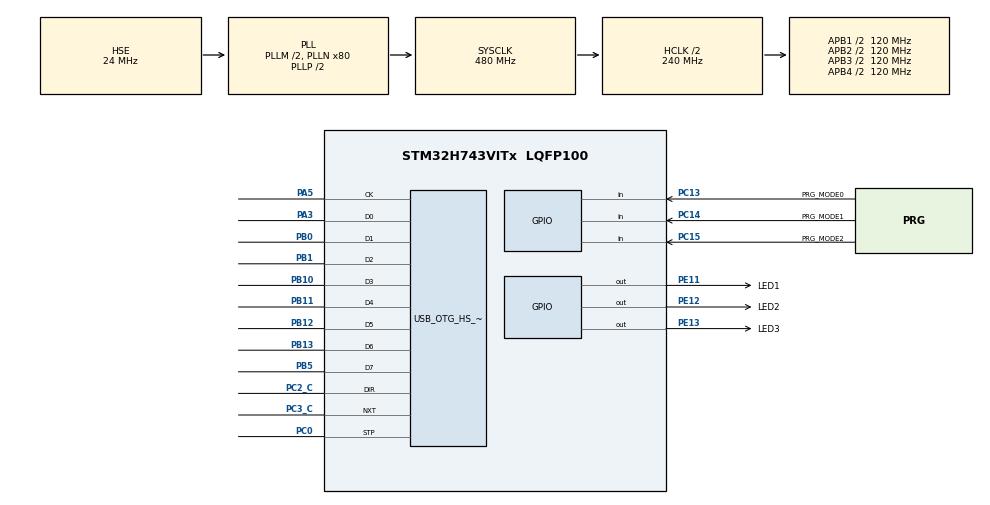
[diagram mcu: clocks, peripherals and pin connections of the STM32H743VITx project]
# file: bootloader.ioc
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CORTEX_M7.default_mode_Activation=1
Mcu.Family=STM32H7
Mcu.Name=STM32H743VITx
Mcu.Package=LQFP100
NVIC.OTG_HS_IRQn=true\:0\:0\:false\:false\:true\:false\:true\:true
NVIC.PriorityGroup=NVIC_PRIORITYGROUP_4
PA3.Mode=Device_HS
PA3.Signal=USB_OTG_HS_ULPI_D0
PA5.Mode=Device_HS
PA5.Signal=USB_OTG_HS_ULPI_CK
PB0.Mode=Device_HS
PB0.Signal=USB_OTG_HS_ULPI_D1
PB1.Mode=Device_HS
PB1.Signal=USB_OTG_HS_ULPI_D2
PB10.Mode=Device_HS
PB10.Signal=USB_OTG_HS_ULPI_D3
PB11.Mode=Device_HS
PB11.Signal=USB_OTG_HS_ULPI_D4
PB12.Mode=Device_HS
PB12.Signal=USB_OTG_HS_ULPI_D5
PB13.Mode=Device_HS
PB13.Signal=USB_OTG_HS_ULPI_D6
PB5.Mode=Device_HS
PB5.Signal=USB_OTG_HS_ULPI_D7
PC0.Mode=Device_HS
PC0.Signal=USB_OTG_HS_ULPI_STP
PC13.GPIO_Label=PRG_MODE0
PC13.Signal=GPIO_Input
PC14-OSC32_IN\ (OSC32_IN).GPIO_Label=PRG_MODE1
PC14-OSC32_IN\ (OSC32_IN).Signal=GPIO_Input
PC15-OSC32_OUT\ (OSC32_OUT).GPIO_Label=PRG_MODE2
PC15-OSC32_OUT\ (OSC32_OUT).Signal=GPIO_Input
PC2_C.Mode=Device_HS
PC2_C.Signal=USB_OTG_HS_ULPI_DIR
PC3_C.Mode=Device_HS
PC3_C.Signal=USB_OTG_HS_ULPI_NXT
PE11.GPIO_Label=LED1
PE11.Signal=GPIO_Output
PE12.GPIO_Label=LED2
PE12.Signal=GPIO_Output
PE13.GPIO_Label=LED3
PE13.Signal=GPIO_Output
PH0-OSC_IN\ (PH0).Mode=HSE-External-Oscillator
PH0-OSC_IN\ (PH0).Signal=RCC_OSC_IN
PH1-OSC_OUT\ (PH1).Mode=HSE-External-Oscillator
PH1-OSC_OUT\ (PH1).Signal=RCC_OSC_OUT
ProjectManager.HeapSize=0x200
ProjectManager.StackSize=0x400
ProjectManager.TargetToolchain=CMake
RCC.ADCFreq_Value=48375000
RCC.APB1Freq_Value=120000000
RCC.APB2Freq_Value=120000000
RCC.APB3Freq_Value=120000000
RCC.APB4Freq_Value=120000000
RCC.CortexFreq_Value=480000000
RCC.D1PPRE=RCC_APB3_DIV2
RCC.D2PPRE1=RCC_APB1_DIV2
RCC.D2PPRE2=RCC_APB2_DIV2
RCC.D3PPRE=RCC_APB4_DIV2
RCC.DIVM1=2
RCC.DIVN1=80
RCC.DIVQ1=15
RCC.HCLKFreq_Value=240000000
RCC.HPRE=RCC_HCLK_DIV2
RCC.HSE_VALUE=24000000
RCC.PLL2FRACN=0
RCC.PLL3FRACN=0
RCC.PLLFRACN=0
RCC.SYSCLKFreq_VALUE=480000000
RCC.SYSCLKSource=RCC_SYSCLKSOURCE_PLLCLK
RCC.USBFreq_Value=64000000
USB_DEVICE.CLASS_NAME_HS=DFU
USB_DEVICE.USBD_DFU_APP_DEFAULT_ADD-DFU_HS=0x08020000
USB_DEVICE.USBD_DFU_MEDIA-DFU_HS=@DFU STM32/0x08020000/07*128Kg,08*128Kg
USB_DEVICE.VirtualMode-DFU_HS=Dfu
USB_DEVICE.VirtualModeHS=Dfu_HS
USB_OTG_HS.VirtualMode-Device_HS=Device_HS
USB_OTG_HS.dma_enable-Device_HS=DISABLE
VP_MEMORYMAP_VS_MEMORYMAP.Mode=CurAppReg
VP_USB_DEVICE_VS_USB_DEVICE_DFU_HS.Mode=DFU_HS
board=custom

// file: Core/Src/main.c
/* USER CODE BEGIN Header */
/**
  ******************************************************************************
  * @file           : main.c
  * @brief          : Main program body
  ******************************************************************************
  * @attention
  *
  * Copyright (c) 2026 STMicroelectronics.
  * All rights reserved.
  *
  * This software is licensed under terms that can be found in the LICENSE file
  * in the root directory of this software component.
  * If no LICENSE file comes with this software, it is provided AS-IS.
  *
  ******************************************************************************
  */
/* USER CODE END Header */
#include "main.h"
#include "usb_device.h"
#include "usbd_core.h"
#include "usbd_conf.h"

/* USER CODE BEGIN PD */
#define APP_ADDRESS       0x08020000U
#define APP_FLASH_END      0x08200000U
#define SRAM_START_ADDRESS 0x20000000U
#define SRAM_END_ADDRESS   0x20020000U
/* USER CODE END PD */

void SystemClock_Config(void);
static void MPU_Config(void);
static void MX_GPIO_Init(void);
/* USER CODE BEGIN PFP */
static void Bootloader_JumpToApplication(void);
extern USBD_HandleTypeDef hUsbDeviceHS;
extern PCD_HandleTypeDef hpcd_USB_OTG_HS;

static void Bootloader_JumpToApplication(void)
{
  uint32_t appStack = *(__IO uint32_t*)APP_ADDRESS;
  uint32_t appReset = *(__IO uint32_t*)(APP_ADDRESS + 4U);
  uint32_t appResetAddress = appReset & ~1U;

  if ((appStack < SRAM_START_ADDRESS) ||
      (appStack > SRAM_END_ADDRESS) ||
      ((appStack & 0x7U) != 0U) ||
      ((appReset & 1U) == 0U) ||
      (appResetAddress < APP_ADDRESS) ||
      (appResetAddress >= APP_FLASH_END))
  {
    return;
  }

  __disable_irq();
  HAL_NVIC_DisableIRQ(OTG_HS_IRQn);
  HAL_NVIC_ClearPendingIRQ(OTG_HS_IRQn);
  __HAL_RCC_USB_OTG_HS_FORCE_RESET();
  __HAL_RCC_USB_OTG_HS_RELEASE_RESET();
  SysTick->CTRL = 0U;
  SysTick->LOAD = 0U;
  SysTick->VAL = 0U;
  SCB->VTOR = APP_ADDRESS;
  __DSB();
  __ISB();

  __asm volatile ("msr msp, %0\n\t"
                  "cpsie i\n\t"
                  "bx %1\n\t"
                  :
                  : "r" (appStack), "r" (appReset)
                  : "memory");

  for (;;)
  {
  }
}

/* USER CODE END PFP */

int main(void)
{

  /* MPU Configuration--------------------------------------------------------*/
  MPU_Config();

  /* MCU Configuration--------------------------------------------------------*/

  /* Reset of all peripherals, Initializes the Flash interface and the Systick. */
  HAL_Init();

  /* Configure the system clock */
  SystemClock_Config();

  /* Initialize all configured peripherals */
  MX_GPIO_Init();

  /* USER CODE BEGIN 2 */
  /**
	 * @brief  Lựa chọn chế độ hoạt động ngay khi vừa boot
	 * @param  mode: Dữ liệu đọc từ công tắc gạt
	 * @param 0x0: Sensor calibration
	 * @param 0x1: Cổng USB Highspeed được dùng làm USB Webcam
	 * @param 0x2: Chạy test ADC
	 * @param 0x3: Chạy test motor và encoder
	 * @param 0x4: Chạy application dò line bằng sensor
	 * @param 0x5: Chạy application dò line bằng camera
   * @param 0x6: Chạy application chính
   * @param 0x7: Cổng USB Highspeed được dùng làm DFU
   * @param
	 */
	uint8_t mode = (HAL_GPIO_ReadPin(PRG_MODE0_GPIO_Port, PRG_MODE0_Pin) << 0) |
		(HAL_GPIO_ReadPin(PRG_MODE1_GPIO_Port, PRG_MODE1_Pin) << 1) |
    (HAL_GPIO_ReadPin(PRG_MODE2_GPIO_Port, PRG_MODE2_Pin) << 2);

  if (mode != 7)
  {
    Bootloader_JumpToApplication();
  }
   MX_USB_DEVICE_Init();
  HAL_GPIO_WritePin(LED1_GPIO_Port, LED1_Pin, 1);
  HAL_GPIO_WritePin(LED2_GPIO_Port, LED2_Pin, 1);
  HAL_GPIO_WritePin(LED3_GPIO_Port, LED3_Pin, 1);
  /* USER CODE END 2 */

  /* Infinite loop */
  while (1)
  {

  }
}

void SystemClock_Config(void)
{
  RCC_OscInitTypeDef RCC_OscInitStruct = {0};
  RCC_ClkInitTypeDef RCC_ClkInitStruct = {0};

  /** Supply configuration update enable
  */
  HAL_PWREx_ConfigSupply(PWR_LDO_SUPPLY);

  /** Configure the main internal regulator output voltage
  */
  __HAL_PWR_VOLTAGESCALING_CONFIG(PWR_REGULATOR_VOLTAGE_SCALE0);

  while(!__HAL_PWR_GET_FLAG(PWR_FLAG_VOSRDY)) {}

  /** Initializes the RCC Oscillators according to the specified parameters
  * in the RCC_OscInitTypeDef structure.
  */
  RCC_OscInitStruct.OscillatorType = RCC_OSCILLATORTYPE_HSE;
  RCC_OscInitStruct.HSEState = RCC_HSE_ON;
  RCC_OscInitStruct.PLL.PLLState = RCC_PLL_ON;
  RCC_OscInitStruct.PLL.PLLSource = RCC_PLLSOURCE_HSE;
  RCC_OscInitStruct.PLL.PLLM = 2;
  RCC_OscInitStruct.PLL.PLLN = 80;
  RCC_OscInitStruct.PLL.PLLP = 2;
  RCC_OscInitStruct.PLL.PLLQ = 15;
  RCC_OscInitStruct.PLL.PLLR = 2;
  RCC_OscInitStruct.PLL.PLLRGE = RCC_PLL1VCIRANGE_3;
  RCC_OscInitStruct.PLL.PLLVCOSEL = RCC_PLL1VCOWIDE;
  RCC_OscInitStruct.PLL.PLLFRACN = 0;
  if (HAL_RCC_OscConfig(&RCC_OscInitStruct) != HAL_OK)
  {
    Error_Handler();
  }

  /** Initializes the CPU, AHB and APB buses clocks
  */
  RCC_ClkInitStruct.ClockType = RCC_CLOCKTYPE_HCLK|RCC_CLOCKTYPE_SYSCLK
                              |RCC_CLOCKTYPE_PCLK1|RCC_CLOCKTYPE_PCLK2
                              |RCC_CLOCKTYPE_D3PCLK1|RCC_CLOCKTYPE_D1PCLK1;
  RCC_ClkInitStruct.SYSCLKSource = RCC_SYSCLKSOURCE_PLLCLK;
  RCC_ClkInitStruct.SYSCLKDivider = RCC_SYSCLK_DIV1;
  RCC_ClkInitStruct.AHBCLKDivider = RCC_HCLK_DIV2;
  RCC_ClkInitStruct.APB3CLKDivider = RCC_APB3_DIV2;
  RCC_ClkInitStruct.APB1CLKDivider = RCC_APB1_DIV2;
  RCC_ClkInitStruct.APB2CLKDivider = RCC_APB2_DIV2;
  RCC_ClkInitStruct.APB4CLKDivider = RCC_APB4_DIV2;

  if (HAL_RCC_ClockConfig(&RCC_ClkInitStruct, FLASH_LATENCY_4) != HAL_OK)
  {
    Error_Handler();
  }
}

static void MX_GPIO_Init(void)
{
  GPIO_InitTypeDef GPIO_InitStruct = {0};

  /* GPIO Ports Clock Enable */
  __HAL_RCC_GPIOC_CLK_ENABLE();
  __HAL_RCC_GPIOH_CLK_ENABLE();
  __HAL_RCC_GPIOA_CLK_ENABLE();
  __HAL_RCC_GPIOB_CLK_ENABLE();
  __HAL_RCC_GPIOE_CLK_ENABLE();

  /*Configure GPIO pin Output Level */
  HAL_GPIO_WritePin(GPIOE, LED1_Pin|LED2_Pin|LED3_Pin, GPIO_PIN_RESET);

  /*Configure GPIO pins : PRG_MODE0_Pin PRG_MODE1_Pin PRG_MODE2_Pin */
  GPIO_InitStruct.Pin = PRG_MODE0_Pin|PRG_MODE1_Pin|PRG_MODE2_Pin;
  GPIO_InitStruct.Mode = GPIO_MODE_INPUT;
  GPIO_InitStruct.Pull = GPIO_NOPULL;
  HAL_GPIO_Init(GPIOC, &GPIO_InitStruct);

  /*Configure GPIO pins : LED1_Pin LED2_Pin LED3_Pin */
  GPIO_InitStruct.Pin = LED1_Pin|LED2_Pin|LED3_Pin;
  GPIO_InitStruct.Mode = GPIO_MODE_OUTPUT_PP;
  GPIO_InitStruct.Pull = GPIO_NOPULL;
  GPIO_InitStruct.Speed = GPIO_SPEED_FREQ_LOW;
  HAL_GPIO_Init(GPIOE, &GPIO_InitStruct);

}

 /* MPU Configuration */

void MPU_Config(void)
{
  MPU_Region_InitTypeDef MPU_InitStruct = {0};

  /* Disables the MPU */
  HAL_MPU_Disable();

  /** Initializes and configures the Region and the memory to be protected
  */
  MPU_InitStruct.Enable = MPU_REGION_ENABLE;
  MPU_InitStruct.Number = MPU_REGION_NUMBER0;
  MPU_InitStruct.BaseAddress = 0x0;
  MPU_InitStruct.Size = MPU_REGION_SIZE_4GB;
  MPU_InitStruct.SubRegionDisable = 0x87;
  MPU_InitStruct.TypeExtField = MPU_TEX_LEVEL0;
  MPU_InitStruct.AccessPermission = MPU_REGION_NO_ACCESS;
  MPU_InitStruct.DisableExec = MPU_INSTRUCTION_ACCESS_DISABLE;
  MPU_InitStruct.IsShareable = MPU_ACCESS_SHAREABLE;
  MPU_InitStruct.IsCacheable = MPU_ACCESS_NOT_CACHEABLE;
  MPU_InitStruct.IsBufferable = MPU_ACCESS_NOT_BUFFERABLE;

  HAL_MPU_ConfigRegion(&MPU_InitStruct);
  /* Enables the MPU */
  HAL_MPU_Enable(MPU_PRIVILEGED_DEFAULT);

}

void Error_Handler(void)
{
  __disable_irq();
  while (1)
  {
  }
}
